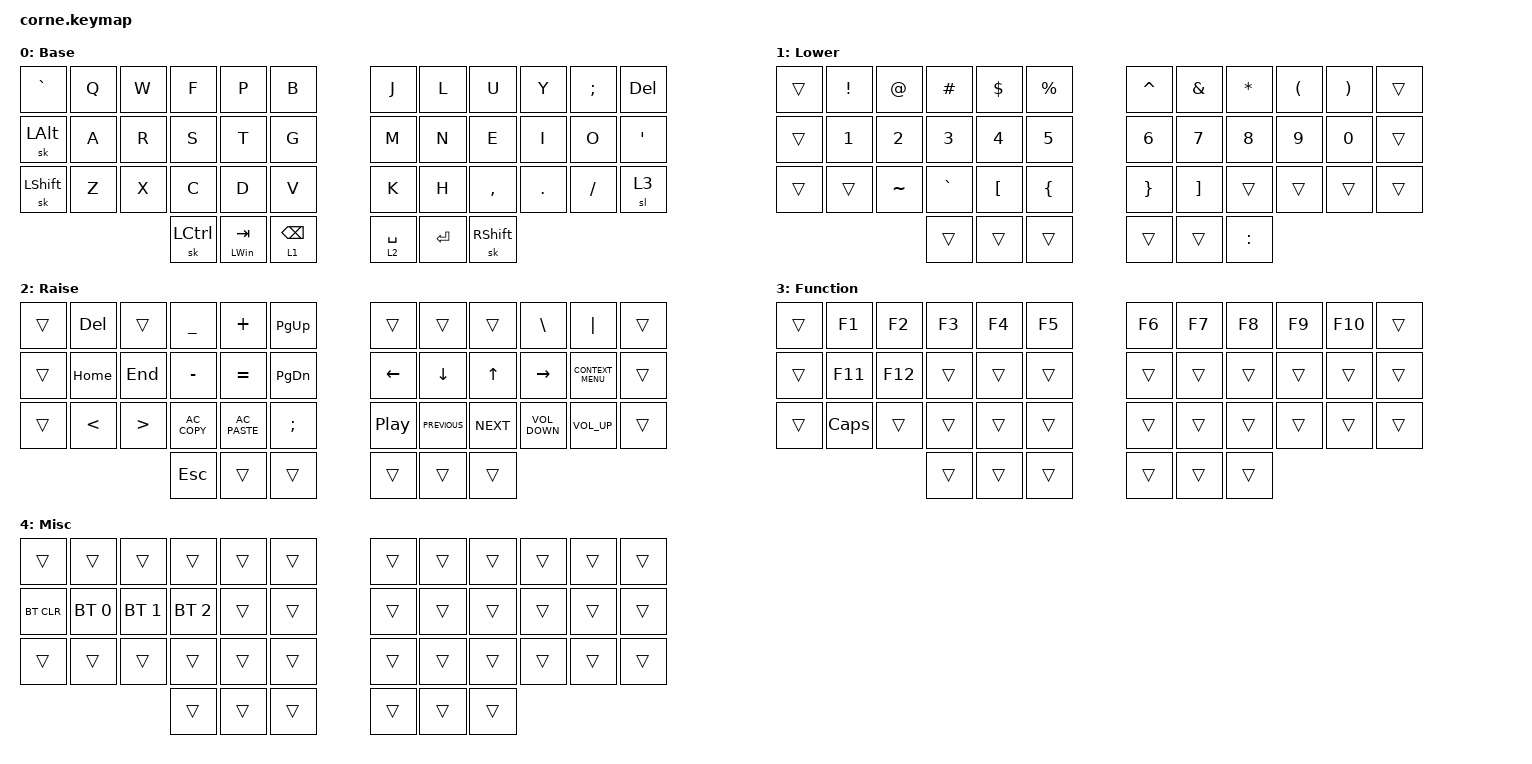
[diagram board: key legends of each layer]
/*
 * Copyright (c) 2020 The ZMK Contributors
 *
 * SPDX-License-Identifier: MIT
 */

#include <behaviors.dtsi>
#include <dt-bindings/zmk/bt.h>
#include <dt-bindings/zmk/keys.h>

&lt { quick-tap-ms = <200>; };

/ {
    combos {
        compatible = "zmk,combos";

        escape {
            bindings = <&kp ESC>;
            key-positions = <19 20>;
            layers = <0>;
        };
    };

    keymap {
        compatible = "zmk,keymap";

        base {
            bindings = <
&kp GRAVE  &kp Q  &kp W  &kp F             &kp P             &kp B              &kp J        &kp L      &kp U            &kp Y    &kp SEMI  &kp DELETE
&sk LALT   &kp A  &kp R  &kp S             &kp T             &kp G              &kp M        &kp N      &kp E            &kp I    &kp O     &kp APOS
&sk LSHFT  &kp Z  &kp X  &kp C             &kp D             &kp V              &kp K        &kp H      &kp COMMA        &kp DOT  &kp FSLH  &sl 3
                         &sk LEFT_CONTROL  &mt LEFT_WIN TAB  &lt 1 BACKSPACE    &lt 2 SPACE  &kp ENTER  &sk RIGHT_SHIFT
            >;

            label = "Base";
        };

        lower {
            bindings = <
&trans  &kp EXCL  &kp AT     &kp HASH   &kp DOLLAR        &kp PERCENT       &kp CARET        &kp AMPERSAND      &kp ASTRK  &kp LEFT_PARENTHESIS  &kp RIGHT_PARENTHESIS  &trans
&trans  &kp N1    &kp N2     &kp N3     &kp N4            &kp N5            &kp N6           &kp N7             &kp N8     &kp N9                &kp N0                 &trans
&trans  &trans    &kp TILDE  &kp GRAVE  &kp LEFT_BRACKET  &kp LEFT_BRACE    &kp RIGHT_BRACE  &kp RIGHT_BRACKET  &trans     &trans                &trans                 &trans
                             &trans     &trans            &trans            &trans           &trans             &kp COLON
            >;

            label = "Lower";
        };

        raise {
            bindings = <
&trans  &kp DEL        &trans            &kp UNDER      &kp PLUS        &kp PAGE_UP      &trans            &trans          &trans        &kp BACKSLASH      &kp PIPE            &trans
&trans  &kp HOME       &kp END           &kp MINUS      &kp EQUAL       &kp PAGE_DOWN    &kp LEFT          &kp DOWN        &kp UP_ARROW  &kp RIGHT          &kp K_CONTEXT_MENU  &trans
&trans  &kp LESS_THAN  &kp GREATER_THAN  &kp C_AC_COPY  &kp C_AC_PASTE  &kp SEMI         &kp C_PLAY_PAUSE  &kp C_PREVIOUS  &kp C_NEXT    &kp C_VOLUME_DOWN  &kp C_VOLUME_UP     &trans
                                         &kp ESC        &trans          &trans           &trans            &trans          &trans
            >;

            label = "Raise";
        };

        func {
            bindings = <
&trans  &kp F1    &kp F2   &kp F3  &kp F4  &kp F5    &kp F6  &kp F7  &kp F8  &kp F9  &kp F10  &trans
&trans  &kp F11   &kp F12  &trans  &trans  &trans    &trans  &trans  &trans  &trans  &trans   &trans
&trans  &kp CAPS  &trans   &trans  &trans  &trans    &trans  &trans  &trans  &trans  &trans   &trans
                           &trans  &trans  &trans    &trans  &trans  &trans
            >;

            label = "Function";
        };

        misc {
            bindings = <
&trans      &trans        &trans        &trans        &trans  &trans    &trans  &trans  &trans  &trans  &trans  &trans
&bt BT_CLR  &bt BT_SEL 0  &bt BT_SEL 1  &bt BT_SEL 2  &trans  &trans    &trans  &trans  &trans  &trans  &trans  &trans
&trans      &trans        &trans        &trans        &trans  &trans    &trans  &trans  &trans  &trans  &trans  &trans
                                        &trans        &trans  &trans    &trans  &trans  &trans
            >;

            label = "Misc";
        };
    };

    conditional_layers {
        compatible = "zmk,conditional-layers";

        MISC {
            if-layers = <2 1>;
            then-layer = <4>;
        };
    };
};
